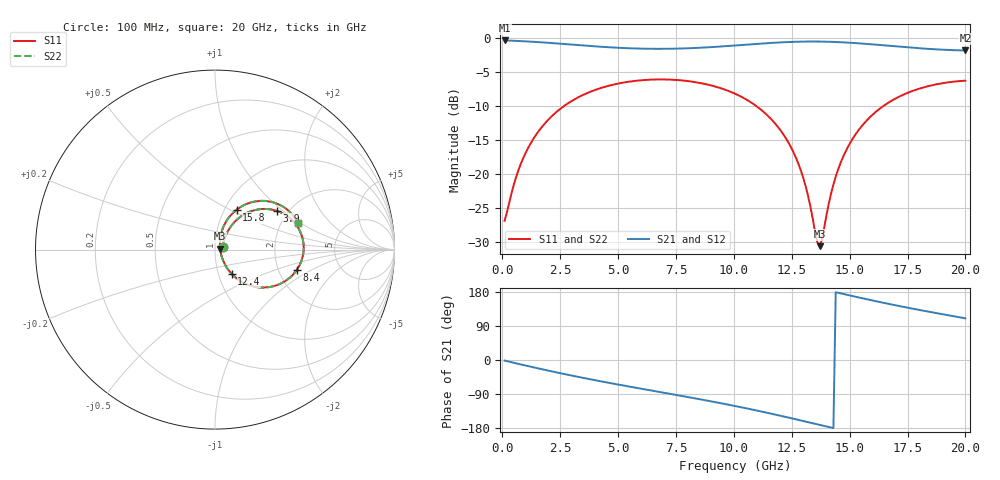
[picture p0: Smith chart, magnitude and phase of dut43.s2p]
! Touchstone file exported from HFSS 2026.1.0
!  File:  C:/ffzhzh/LocalFiles/Ansys_Project_Files/temp_train_TSV_RDL_43_1782965791_6388.aedt
!  Generated:  12:31:53 PM Jul  2, 2026
!  Design:  TSV_RDL
!  Project:  temp_train_TSV_RDL_43_1782965791_6388
! Variables:
!  h_bsmrdl = 2.4um
!  h_ox = 20um
!  h_rdl = 5um
!  h_sub = 67.92um
!  h_tmrdl = 2.12um
!  h_tsv = 67.92um
!  h_via = 3um
!  l_bsmrdl = 576.54um
!  l_sub = 4173.61um
!  l_tmrdl = 487.38um
!  m_sub = 200um
!  pitch = 32.13um
!  r_tsv = 4.9um
!  s_tmrdl = 10um
!  w_bsmrdl = 20.28um
!  w_sub = 500um
!  w_tmrdl = 11.21um
!  x_tsv_center1 = 492.985um
!  x_tsv_center2 = 1089.805um
!  x_tsv_center3 = 1588.395um
!  x_tsv_center4 = 2185.215um
!  x_tsv_center5 = 2683.805um
!  x_tsv_center6 = 3280.625um
# GHz S MA R 50.000000
! Terminal data exported
! Port[1] = TM_RDL1_1_T1
! Port[2] = TM_RDL5_1_T1
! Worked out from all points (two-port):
!   200 points, 100 MHz to 20 GHz, reference 50 ohm
!   highest |S21| = -0.38 dB at 100 MHz (marker M1); lowest = -1.9 dB at 20 GHz (marker M2)
!   |S21| within 3 dB of the highest: start of sweep to end of sweep
!   lowest |S11| = -30.7 dB at 13.7 GHz (marker M3), VSWR 1.06, Z = 53 + j0.49 ohm
!   |S11| at or under -10 dB: start of sweep to 2.682 GHz; 10.96 GHz to 16.47 GHz (5.517 GHz wide, 40.2 % of centre)
!   |S22| runs from -31.0 to -6.1 dB; largest |S21 - S12| = 1.5e-14
!   S11 on the Smith chart (normalised r, x): 100 MHz: 1.09, +0.03; 3.9 GHz: 1.76, +0.91; 8.4 GHz: 2.53, -0.73; 12.4 GHz: 1.16, -0.32; 15.8 GHz: 1.14, +0.54; 20 GHz: 2.45, +0.95
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0.1  0.04495 17.3  0.9574 -1.5  0.9574 -1.5  0.04495 17.3
! Gamma 0 0 0 0
! Port Impedance 50 0 50 0
0.7  0.1065 53.7  0.9487 -10.3  0.9487 -10.3  0.1065 53.7
1.3  0.1757 55.3  0.9369 -18.7  0.9369 -18.7  0.1757 55.2
2.3  0.2811 48.0  0.912 -32.2  0.912 -32.2  0.2811 48.0
3.5  0.3809 36.1  0.8791 -47.3  0.8791 -47.3  0.381 36.0
3.9  0.4071 31.9  0.8689 -52.1  0.8689 -52.1  0.4071 31.9
6.8  0.4944 2.6  0.8305 -84.5  0.8305 -84.5  0.4944 2.5
8.4  0.4703 -13.7  0.8436 -102.0  0.8436 -102.0  0.4703 -13.8
10.1  0.3848 -32.0  0.8802 -122.0  0.8802 -122.0  0.3848 -32.1
11.4  0.274 -46.3  0.9133 -138.7  0.9133 -138.7  0.274 -46.5
12.4  0.1646 -55.4  0.9328 -152.5  0.9328 -152.5  0.1645 -55.8
13  0.09286 -55.6  0.939 -161.0  0.939 -161.0  0.09262 -56.2
13.4  0.0473 -41.3  0.9403 -166.8  0.9403 -166.8  0.04671 -42.4
13.6  0.03141 -13.7  0.9399 -169.7  0.9399 -169.7  0.03042 -14.6
13.7  0.02926 9.1  0.9396 -171.1  0.9396 -171.1  0.02816 9.0
14.2  0.07154 65.4  0.9353 -178.3  0.9353 -178.3  0.071 66.2
14.6  0.1188 69.8  0.9294 176.0  0.9294 176.0  0.1185 70.3
15.1  0.1772 67.8  0.9192 169.1  0.9192 169.1  0.177 68.1
15.8  0.2529 61.5  0.901 159.5  0.901 159.5  0.2527 61.7
16.7  0.3355 52.0  0.8746 147.9  0.8746 147.9  0.3353 52.2
18.2  0.4323 36.0  0.8341 129.9  0.8341 129.9  0.4322 36.1
20  0.4839 17.8  0.8078 110.0  0.8078 110.0  0.4838 17.9
